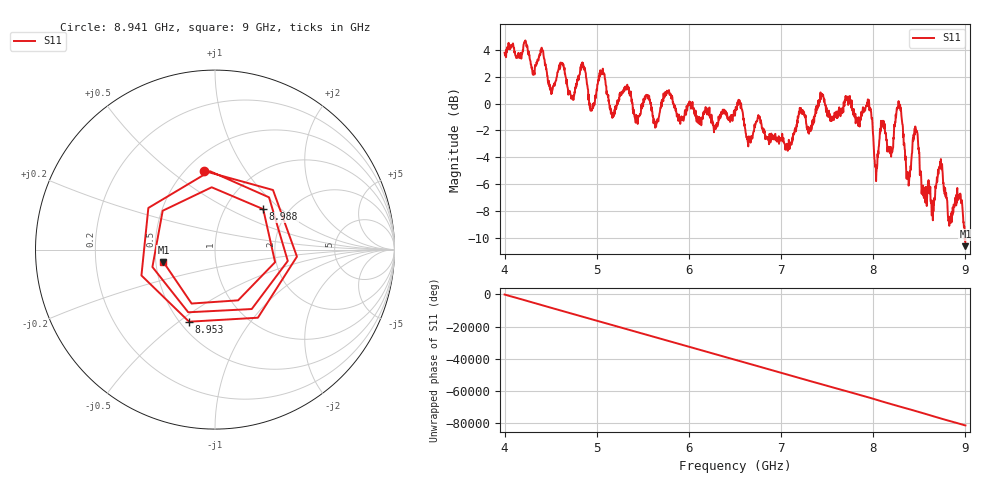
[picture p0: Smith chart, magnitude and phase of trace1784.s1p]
! Created with skrf 1.8.0 (http://scikit-rf.org).
# Hz S RI R 50.0
!freq ReS11 ImS11
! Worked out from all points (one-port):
!   1601 points, 4 GHz to 9 GHz, reference 50 ohm
!   lowest |S11| = -10.6 dB at 9 GHz (marker M1), VSWR 1.84, Z = 27.5 - j4.16 ohm
!   |S11| at or under -10 dB: 8.993447 GHz to 8.995005 GHz (1.559 MHz wide, 0.0173 % of centre); 8.99803 GHz to end of sweep
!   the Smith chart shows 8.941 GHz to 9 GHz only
!   S11 on the Smith chart (normalised r, x): 8.941 GHz: 0.61, +0.66; 8.953 GHz: 0.56, -0.55; 8.988 GHz: 1.50, +0.77; 9 GHz: 0.55, -0.08
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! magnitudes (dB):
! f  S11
! 4 GHz  3.8
! 4.403 GHz  4.1
! 4.509 GHz  0.9
! 4.625 GHz  3.0
! 4.738 GHz  0.3
! 4.856 GHz  2.8
! 4.944 GHz  -0.5
! 5.053 GHz  2.2
! 5.162 GHz  -0.7
! 5.25 GHz  0.7
! 5.875 GHz  -0.8
! 6.5 GHz  -0.9
! 7.125 GHz  -2.5
! 7.75 GHz  0.0
! 7.953 GHz  0.3
! 8.031 GHz  -5.8
! 8.197 GHz  -3.4
! 8.281 GHz  0.0
! 8.375 GHz  -5.4
! 8.459 GHz  -1.8
! 8.559 GHz  -6.7
! 8.647 GHz  -8.7
! 8.728 GHz  -4.3
! 8.834 GHz  -8.5
! 8.941 GHz  -7.1
! 8.953 GHz  -7.4
! 8.988 GHz  -9.1
! 9 GHz  -10.6
